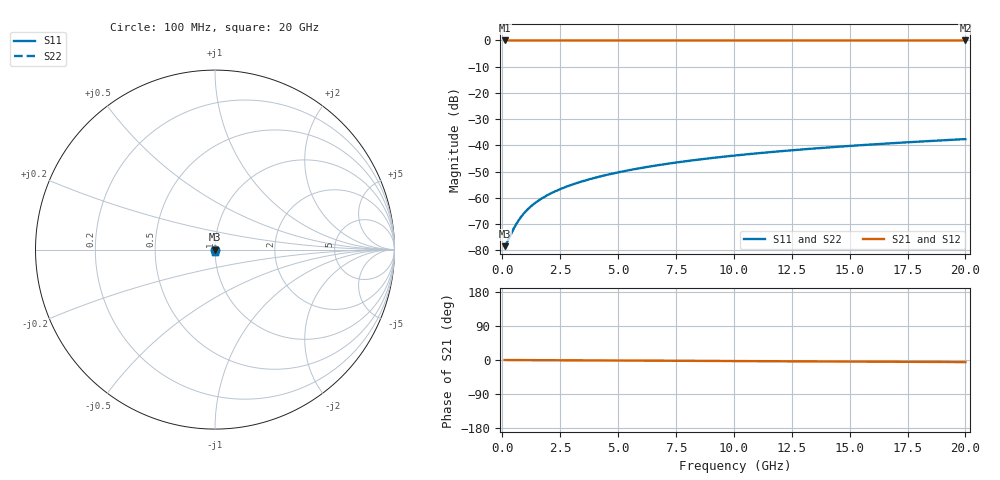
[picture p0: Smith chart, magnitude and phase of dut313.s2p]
! Touchstone file exported from HFSS 2026.1.0
!  File:  C:/ffzhzh/LocalFiles/Ansys_Project_Files/temp_train_TSV_313_1783018180_46388.aedt
!  Generated:  02:51:08 AM Jul  3, 2026
!  Design:  TSV
!  Project:  temp_train_TSV_313_1783018180_46388
! Variables:
!  h_bsmrdl = 2um
!  h_ox = 20um
!  h_rdl = 5um
!  h_sub = 54.22um
!  h_tmrdl = 5um
!  h_tsv = 54.22um
!  h_via = 3um
!  l_bsmrdl = 300um
!  l_sub = 418.08um
!  l_tmrdl = 200um
!  m_sub = 200um
!  pitch = 31.73um
!  r_tsv = 9.04um
!  s_tmrdl = 10um
!  w_bsmrdl = 18um
!  w_sub = 500um
!  w_tmrdl = 12um
!  x_tsv_center1 = 206um
!  x_tsv_center2 = 524um
!  x_tsv_center3 = 736um
!  x_tsv_center4 = 1054um
!  x_tsv_center5 = 1266um
!  x_tsv_center6 = 1584um
# GHz S MA R 50.000000
! Terminal data exported
! Port[1] = TSV1_1_T1
! Port[2] = TSV1_1_T2
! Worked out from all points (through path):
!   200 points, 100 MHz to 20 GHz, reference 50 ohm
!   highest |S21| = 0.00 dB at 100 MHz (marker M1); lowest = 0.0 dB at 20 GHz (marker M2)
!   lowest |S11| = -78.5 dB at 100 MHz (marker M3), VSWR 1.00, Z = 50 - j0.00293 ohm
!   |S11| at or under -10 dB: start of sweep to end of sweep
!   |S22| runs from -78.5 to -37.6 dB; largest |S21 - S12| = 5.8e-15
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0.1  0.000119 -14.3  0.9999 -0.0  0.9999 -0.0  0.000119 -14.3
! Gamma 0 0 0 0
! Port Impedance 50 0 50 0
0.2  0.0001404 -25.9  0.9999 -0.1  0.9999 -0.1  0.0001404 -25.9
0.5  0.0002613 -46.2  0.9998 -0.1  0.9998 -0.1  0.0002613 -46.2
0.7  0.0003677 -53.7  0.9998 -0.2  0.9998 -0.2  0.0003677 -53.7
0.8  0.0004245 -56.6  0.9998 -0.2  0.9998 -0.2  0.0004245 -56.6
1  0.0005418 -61.3  0.9997 -0.3  0.9997 -0.3  0.0005418 -61.3
1.3  0.0007221 -66.2  0.9997 -0.4  0.9997 -0.4  0.0007221 -66.2
1.5  0.0008435 -68.7  0.9997 -0.4  0.9997 -0.4  0.0008435 -68.7
1.7  0.0009654 -70.6  0.9997 -0.5  0.9997 -0.5  0.0009654 -70.6
2.2  0.001272 -74.1  0.9996 -0.6  0.9996 -0.6  0.001272 -74.1
2.8  0.001643 -76.7  0.9996 -0.8  0.9996 -0.8  0.001643 -76.7
3.5  0.002082 -78.7  0.9996 -1.0  0.9996 -1.0  0.002082 -78.7
4.2  0.002527 -80.1  0.9995 -1.2  0.9995 -1.2  0.002527 -80.1
5  0.003043 -81.3  0.9995 -1.4  0.9995 -1.4  0.003043 -81.3
5.9  0.00363 -82.4  0.9994 -1.6  0.9994 -1.6  0.00363 -82.4
6.8  0.004223 -83.4  0.9994 -1.9  0.9994 -1.9  0.004223 -83.4
8.3  0.00522 -84.7  0.9993 -2.3  0.9993 -2.3  0.00522 -84.7
10.1  0.006423 -86.0  0.9992 -2.8  0.9992 -2.8  0.006423 -86.0
11.7  0.007498 -87.0  0.9992 -3.2  0.9992 -3.2  0.007498 -87.0
13.4  0.008642 -87.9  0.9991 -3.7  0.9991 -3.7  0.008642 -87.9
16.7  0.01087 -89.4  0.999 -4.6  0.999 -4.6  0.01087 -89.4
20  0.01312 -90.8  0.9988 -5.5  0.9988 -5.5  0.01312 -90.8
